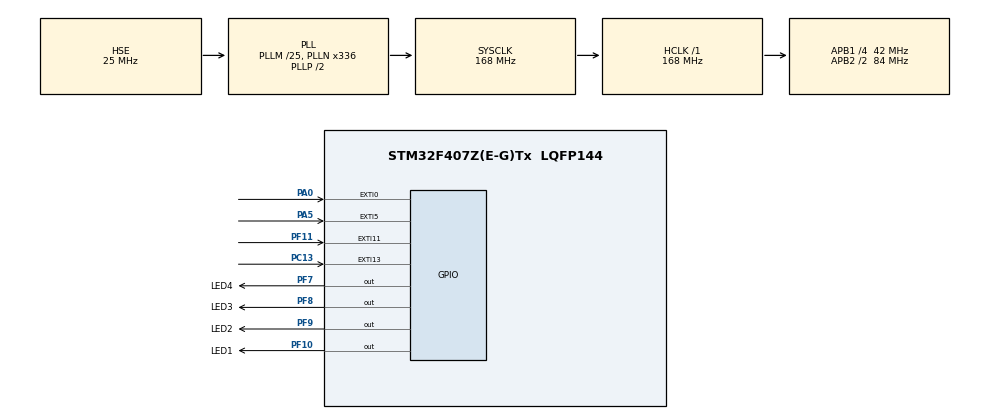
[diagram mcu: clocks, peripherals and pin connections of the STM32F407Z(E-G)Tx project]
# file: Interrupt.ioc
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Mcu.Family=STM32F4
Mcu.Name=STM32F407Z(E-G)Tx
Mcu.Package=LQFP144
NVIC.EXTI0_IRQn=true\:2\:0\:true\:false\:true\:true\:true
NVIC.EXTI15_10_IRQn=true\:3\:0\:true\:false\:true\:true\:true
NVIC.EXTI9_5_IRQn=true\:1\:0\:true\:false\:true\:true\:true
NVIC.PriorityGroup=NVIC_PRIORITYGROUP_4
PA0-WKUP.GPIO_PuPd=GPIO_PULLDOWN
PA0-WKUP.Signal=GPXTI0
PA5.GPIO_PuPd=GPIO_PULLUP
PA5.Signal=GPXTI5
PC13-ANTI_TAMP.GPIO_PuPd=GPIO_PULLUP
PC13-ANTI_TAMP.Signal=GPXTI13
PC14-OSC32_IN.Mode=LSE-External-Clock-Source
PC14-OSC32_IN.Signal=RCC_OSC32_IN
PC15-OSC32_OUT.Mode=LSE-External-Clock-Source
PC15-OSC32_OUT.Signal=RCC_OSC32_OUT
PF10.GPIO_Label=LED1
PF10.PinState=GPIO_PIN_RESET
PF10.Signal=GPIO_Output
PF11.GPIO_PuPd=GPIO_PULLUP
PF11.Signal=GPXTI11
PF7.GPIO_Label=LED4
PF7.PinState=GPIO_PIN_RESET
PF7.Signal=GPIO_Output
PF8.GPIO_Label=LED3
PF8.PinState=GPIO_PIN_RESET
PF8.Signal=GPIO_Output
PF9.GPIO_Label=LED2
PF9.PinState=GPIO_PIN_RESET
PF9.Signal=GPIO_Output
PH0-OSC_IN.Mode=HSE-External-Oscillator
PH0-OSC_IN.Signal=RCC_OSC_IN
PH1-OSC_OUT.Mode=HSE-External-Oscillator
PH1-OSC_OUT.Signal=RCC_OSC_OUT
ProjectManager.HeapSize=0x200
ProjectManager.StackSize=0x400
ProjectManager.TargetToolchain=MDK-ARM V5.27
RCC.48MHZClocksFreq_Value=84000000
RCC.AHBFreq_Value=168000000
RCC.APB1CLKDivider=RCC_HCLK_DIV4
RCC.APB1Freq_Value=42000000
RCC.APB1TimFreq_Value=84000000
RCC.APB2CLKDivider=RCC_HCLK_DIV2
RCC.APB2Freq_Value=84000000
RCC.APB2TimFreq_Value=168000000
RCC.CortexFreq_Value=168000000
RCC.HCLKFreq_Value=168000000
RCC.HSE_VALUE=25000000
RCC.HSI_VALUE=16000000
RCC.LSE_VALUE=32768
RCC.PLLM=25
RCC.PLLN=336
RCC.PLLSourceVirtual=RCC_PLLSOURCE_HSE
RCC.SYSCLKFreq_VALUE=168000000
RCC.SYSCLKSource=RCC_SYSCLKSOURCE_PLLCLK
RCC.VCOOutputFreq_Value=336000000
TIM1.Period=65535
TIM1.Prescaler=83
VP_TIM1_VS_ClockSourceINT.Mode=Internal
board=custom

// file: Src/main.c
/* USER CODE BEGIN Header */
/**
  ******************************************************************************
  * @file           : main.c
  * @brief          : Main program body
  ******************************************************************************
  * @attention
  *
  * <h2><center>&copy; Copyright (c) 2019 STMicroelectronics.
  * All rights reserved.</center></h2>
  *
  * This software component is licensed by ST under BSD 3-Clause license,
  * the "License"; You may not use this file except in compliance with the
  * License. You may obtain a copy of the License at:
  *                        opensource.org/licenses/BSD-3-Clause
  *
  ******************************************************************************
  */
/* USER CODE END Header */

#include "main.h"
#include "tim.h"
#include "gpio.h"

/* USER CODE BEGIN Includes */
#include "inter.h"
/* USER CODE END Includes */

/* USER CODE BEGIN PTD */
int ShiningFlag=0,Running=0;
/* USER CODE END PTD */

void SystemClock_Config(void);

/* USER CODE BEGIN 0 */
void HAL_GPIO_EXTI_Callback(uint16_t GPIO_Pin)
{
	if(GPIO_Pin==GPIO_PIN_11)
	{
		//2
		//HAL_Delay(100);
		HAL_GPIO_TogglePin(LED2_GPIO_Port,LED2_Pin);
		for(int i=100000;i>=0;i--)
		{}
		//HAL_Delay(100);
	}
	else if(GPIO_Pin==GPIO_PIN_0)
	{
		//4
		//HAL_Delay(100);
		//HAL_GPIO_TogglePin(LED4_GPIO_Port,LED4_Pin);
		//Running=1;
		runing();
				for(int i=100000;i>=0;i--)
		{}
	}
	else if(GPIO_Pin==GPIO_PIN_13)
	{
		//3
		//HAL_Delay(100);
		HAL_GPIO_TogglePin(LED3_GPIO_Port,LED3_Pin);
				for(int i=100000;i>=0;i--)
		{}
	}
	else if(GPIO_Pin==GPIO_PIN_5)
	{
		//1
		//HAL_Delay(100);
		//HAL_GPIO_TogglePin(LED1_GPIO_Port,LED1_Pin);
		//ShiningFlag=1;
		shining();
				for(int i=100000;i>=0;i--)
		{}
	}
}
/* USER CODE END 0 */

int main(void)
{

  /* MCU Configuration--------------------------------------------------------*/

  /* Reset of all peripherals, Initializes the Flash interface and the Systick. */
  HAL_Init();

  /* Configure the system clock */
  SystemClock_Config();

  /* Initialize all configured peripherals */
  MX_GPIO_Init();
  MX_TIM1_Init();
  /* USER CODE BEGIN 2 */
//		HAL_GPIO_WritePin(LED1_GPIO_Port,LED1_Pin,0);
//		HAL_GPIO_WritePin(LED2_GPIO_Port,LED2_Pin,0);
//		HAL_GPIO_WritePin(LED3_GPIO_Port,LED3_Pin,0);
//		HAL_GPIO_WritePin(LED4_GPIO_Port,LED4_Pin,0);
  /* USER CODE END 2 */

  /* Infinite loop */
  while (1)
  {

  }
}

void SystemClock_Config(void)
{
  RCC_OscInitTypeDef RCC_OscInitStruct = {0};
  RCC_ClkInitTypeDef RCC_ClkInitStruct = {0};

  /** Configure the main internal regulator output voltage
  */
  __HAL_RCC_PWR_CLK_ENABLE();
  __HAL_PWR_VOLTAGESCALING_CONFIG(PWR_REGULATOR_VOLTAGE_SCALE1);
  /** Initializes the CPU, AHB and APB busses clocks
  */
  RCC_OscInitStruct.OscillatorType = RCC_OSCILLATORTYPE_HSE;
  RCC_OscInitStruct.HSEState = RCC_HSE_ON;
  RCC_OscInitStruct.PLL.PLLState = RCC_PLL_ON;
  RCC_OscInitStruct.PLL.PLLSource = RCC_PLLSOURCE_HSE;
  RCC_OscInitStruct.PLL.PLLM = 25;
  RCC_OscInitStruct.PLL.PLLN = 336;
  RCC_OscInitStruct.PLL.PLLP = RCC_PLLP_DIV2;
  RCC_OscInitStruct.PLL.PLLQ = 4;
  if (HAL_RCC_OscConfig(&RCC_OscInitStruct) != HAL_OK)
  {
    Error_Handler();
  }
  /** Initializes the CPU, AHB and APB busses clocks
  */
  RCC_ClkInitStruct.ClockType = RCC_CLOCKTYPE_HCLK|RCC_CLOCKTYPE_SYSCLK
                              |RCC_CLOCKTYPE_PCLK1|RCC_CLOCKTYPE_PCLK2;
  RCC_ClkInitStruct.SYSCLKSource = RCC_SYSCLKSOURCE_PLLCLK;
  RCC_ClkInitStruct.AHBCLKDivider = RCC_SYSCLK_DIV1;
  RCC_ClkInitStruct.APB1CLKDivider = RCC_HCLK_DIV4;
  RCC_ClkInitStruct.APB2CLKDivider = RCC_HCLK_DIV2;

  if (HAL_RCC_ClockConfig(&RCC_ClkInitStruct, FLASH_LATENCY_5) != HAL_OK)
  {
    Error_Handler();
  }
}

void Error_Handler(void)
{
}

/************************ (C) COPYRIGHT STMicroelectronics *****END OF FILE****/
